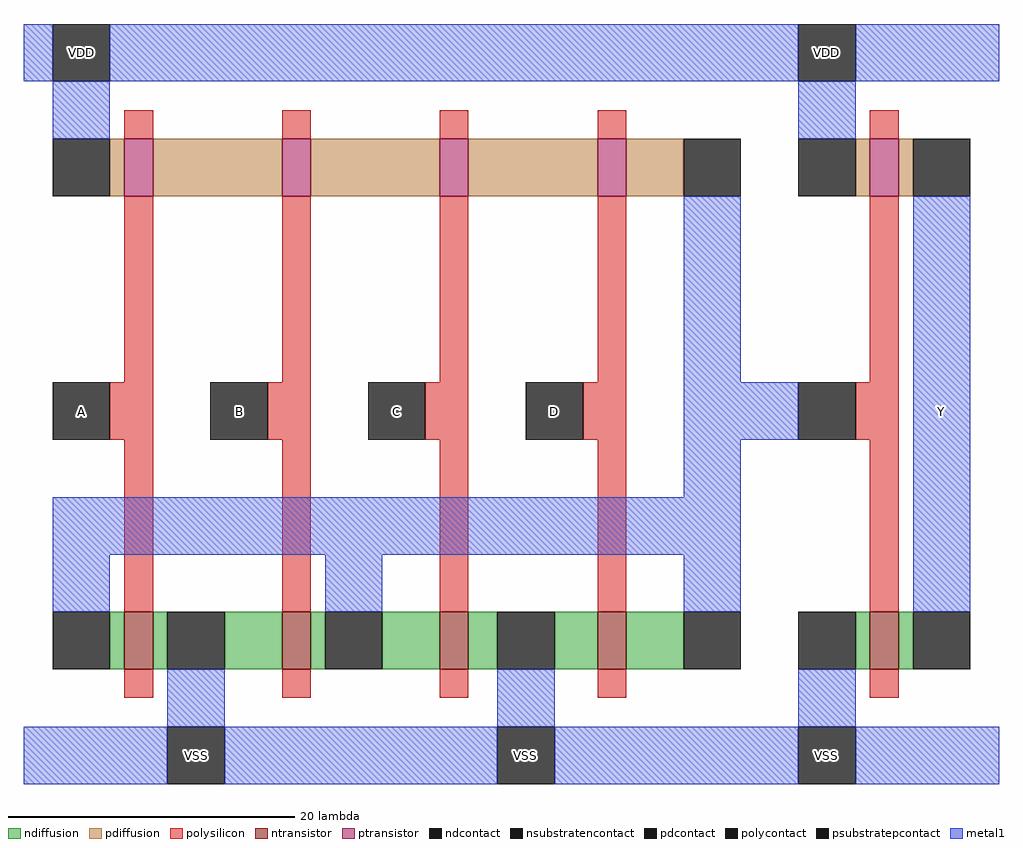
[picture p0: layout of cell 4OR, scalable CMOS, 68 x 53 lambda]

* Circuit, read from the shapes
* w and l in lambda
.subckt 4OR A B C D VDD VSS Y
M1 VSS A n1 VSS nfet w=4 l=2
M2 n1 B VSS VSS nfet w=4 l=2
M3 VSS C n1 VSS nfet w=4 l=2
M4 n1 D VSS VSS nfet w=4 l=2
M5 Y n1 VSS VSS nfet w=4 l=2
M6 n2 A VDD VDD pfet w=4 l=2
M7 n3 B n2 VDD pfet w=4 l=2
M8 n4 C n3 VDD pfet w=4 l=2
M9 n1 D n4 VDD pfet w=4 l=2
M10 Y n1 VDD VDD pfet w=4 l=2
.ends

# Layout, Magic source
magic
tech scmos
<< ntransistor >>
rect 5 8 7 12
rect 16 8 18 12
rect 27 8 29 12
rect 38 8 40 12
rect 57 8 59 12
<< ptransistor >>
rect 5 41 7 45
rect 16 41 18 45
rect 27 41 29 45
rect 38 41 40 45
rect 57 41 59 45
<< ndiffusion >>
rect 4 8 5 12
rect 7 8 8 12
rect 12 8 16 12
rect 18 8 19 12
rect 23 8 27 12
rect 29 8 31 12
rect 35 8 38 12
rect 40 8 44 12
rect 56 8 57 12
rect 59 8 60 12
<< pdiffusion >>
rect 4 41 5 45
rect 7 41 16 45
rect 18 41 27 45
rect 29 41 38 45
rect 40 41 44 45
rect 56 41 57 45
rect 59 41 60 45
<< ndcontact >>
rect 0 8 4 12
rect 8 8 12 12
rect 19 8 23 12
rect 31 8 35 12
rect 44 8 48 12
rect 52 8 56 12
rect 60 8 64 12
<< pdcontact >>
rect 0 41 4 45
rect 44 41 48 45
rect 52 41 56 45
rect 60 41 64 45
<< psubstratepcontact >>
rect 8 0 12 4
rect 31 0 35 4
rect 52 0 56 4
<< nsubstratencontact >>
rect 0 49 4 53
rect 52 49 56 53
<< polysilicon >>
rect 5 45 7 47
rect 16 45 18 47
rect 27 45 29 47
rect 38 45 40 47
rect 57 45 59 47
rect 5 28 7 41
rect 16 28 18 41
rect 27 28 29 41
rect 38 28 40 41
rect 57 28 59 41
rect 4 24 7 28
rect 15 24 18 28
rect 26 24 29 28
rect 37 24 40 28
rect 56 24 59 28
rect 5 12 7 24
rect 16 12 18 24
rect 27 12 29 24
rect 38 12 40 24
rect 57 12 59 24
rect 5 6 7 8
rect 16 6 18 8
rect 27 6 29 8
rect 38 6 40 8
rect 57 6 59 8
<< polycontact >>
rect 0 24 4 28
rect 11 24 15 28
rect 22 24 26 28
rect 33 24 37 28
rect 52 24 56 28
<< metal1 >>
rect -2 49 0 53
rect 4 49 52 53
rect 56 49 66 53
rect 0 45 4 49
rect 52 45 56 49
rect 44 28 48 41
rect 44 24 52 28
rect 44 20 48 24
rect 0 16 48 20
rect 0 12 4 16
rect 19 12 23 16
rect 44 12 48 16
rect 60 12 64 41
rect 8 4 12 8
rect 31 4 35 8
rect 52 4 56 8
rect -2 0 8 4
rect 12 0 31 4
rect 35 0 52 4
rect 56 0 66 4
<< labels >>
rlabel polycontact 2 26 2 26 1 A
rlabel polycontact 13 26 13 26 1 B
rlabel polycontact 24 26 24 26 1 C
rlabel polycontact 35 26 35 26 1 D
rlabel metal1 62 26 62 26 7 Y
rlabel nsubstratencontact 2 51 2 51 1 VDD
rlabel nsubstratencontact 54 51 54 51 1 VDD
rlabel psubstratepcontact 54 2 54 2 1 VSS
rlabel psubstratepcontact 10 2 10 2 1 VSS
rlabel psubstratepcontact 33 2 33 2 1 VSS
<< end >>
